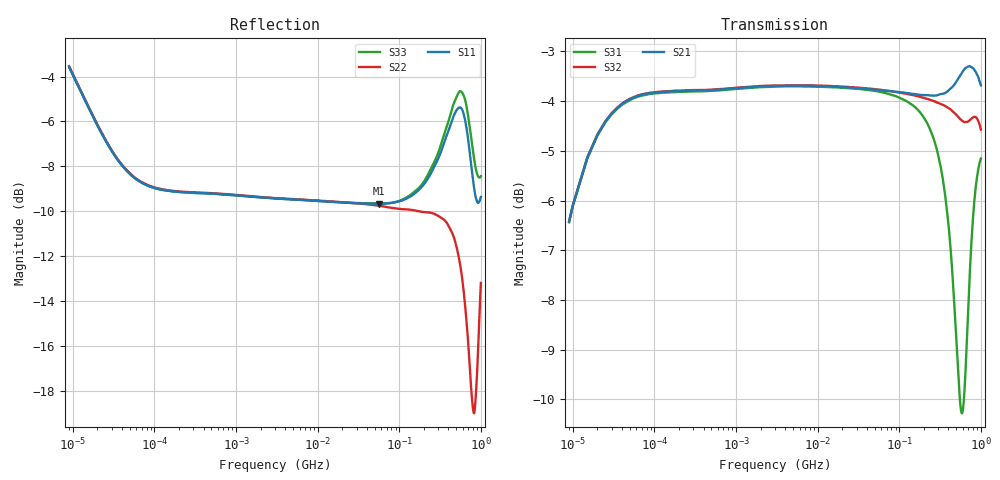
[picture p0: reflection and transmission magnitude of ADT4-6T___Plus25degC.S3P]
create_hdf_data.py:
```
from leda_cal.analog import *
from leda_cal.git import get_repo_fingerprint

def interp_cplx(x_new, x_orig, d_orig):
    re = np.interp(x_new, x_orig, np.real(d_orig))
    im = np.interp(x_new, x_orig, np.imag(d_orig))
    d_new = re + 1j * im
    return d_new

def s2p_interp(f_leda, ant_s11_file, lna_s11_file):
    
    ant = AnalogComponent()
    lna = AnalogComponent()
    ant.read_s2p(ant_s11_file)
    lna.read_s2p(lna_s11_file)

    f  = ant.freq * 1e3
    ra = ant.s11
    rl = lna.s11
    
    ra_ = interp_cplx(f_leda, f, ra)
    rl_ = interp_cplx(f_leda, f, rl)
    
    return ra_, rl_
    

f_leda = np.linspace(0, 98.304, 4096)
i0 = closest(f_leda, 30)
i1 = closest(f_leda, 85)
f_leda = f_leda[i0:i1]


##################
## ANT + LNA
##################
#Just change these paths
#first file is balun file and second file is lna

if False:		# Old cal
  a252x_s11 = s2p_interp(f_leda, 'field-data-2017/field-jan-13/vna-ant252-a2-s11-3.s2p',
           'fee-vna/balun.cal.2016/dcp-a2-s11.s2p')

  a254x_s11 = s2p_interp(f_leda, 'field-data-2017/field-jan-13/vna-ant254-c2-s11.s2p',
           'fee-vna/balun.cal.2016/dcp-c2-s11.s2p')

  a255x_s11 = s2p_interp(f_leda, 'field-data-2017/field-jan-13/vna-ant255-d2-s11.s2p',
           'fee-vna/balun.cal.2016/dcp-d2-s11.s2p')

  a252y_s11 = s2p_interp(f_leda, 'field-data-2017/field-jan-13/vna-ant252-a2-s11-3.s2p',
           'fee-vna/balun.cal.2016/dcp-a2-s11.s2p')

  a254y_s11 = s2p_interp(f_leda, 'field-data-2017/field-jan-13/vna-ant254-c2-s11.s2p',
           'fee-vna/balun.cal.2016/dcp-c2-s11.s2p')

  a255y_s11 = s2p_interp(f_leda, 'field-data-2017/field-jan-13/vna-ant255-d2-s11.s2p',
           'fee-vna/balun.cal.2016/dcp-d2-s11.s2p')
else: 			#	New Cal


  a252x_s11 = s2p_interp(f_leda, 'balun.18may/fialkov.de-embed.baluns.Using.Lab.Measued.Cables.18aug01/Zres_252A.s2p',
           'lna.s11.18may/leda.lna.s11.cable.de-embedded_252A.s2p')

  a254x_s11 = s2p_interp(f_leda, 'balun.18may/fialkov.de-embed.baluns.Using.Lab.Measued.Cables.18aug01/Zres_254A.s2p',
           'lna.s11.18may/leda.lna.s11.cable.de-embedded_252A.s2p')

  a255x_s11 = s2p_interp(f_leda, 'balun.18may/fialkov.de-embed.baluns.Using.Lab.Measued.Cables.18aug01/Zres_255A.s2p',
           'lna.s11.18may/leda.lna.s11.cable.de-embedded_252A.s2p')

  a252y_s11 = s2p_interp(f_leda, 'balun.18may/fialkov.de-embed.baluns.Using.Lab.Measued.Cables.18aug01/Zres_252B.s2p',
           'lna.s11.18may/leda.lna.s11.cable.de-embedded_252A.s2p')

  a254y_s11 = s2p_interp(f_leda, 'balun.18may/fialkov.de-embed.baluns.Using.Lab.Measued.Cables.18aug01/Zres_254B.s2p',
           'lna.s11.18may/leda.lna.s11.cable.de-embedded_252A.s2p')

  a255y_s11 = s2p_interp(f_leda, 'balun.18may/fialkov.de-embed.baluns.Using.Lab.Measued.Cables.18aug01/Zres_255B.s2p',
           'lna.s11.18may/leda.lna.s11.cable.de-embedded_252A.s2p')

  a256y_s11 = s2p_interp(f_leda, 'balun.18may/fialkov.de-embed.baluns.Using.Lab.Measued.Cables.18aug01/Zres_256B.s2p',
           'lna.s11.18may/leda.lna.s11.cable.de-embedded_252A.s2p')


ant_s11_dict = {
    'f'           : f_leda,
    'a252x'       : {'ra': a252x_s11[0], 'rl': a252x_s11[1]},
    'a252y'       : {'ra': a252y_s11[0], 'rl': a252y_s11[1]},
    'a254x'       : {'ra': a254x_s11[0], 'rl': a254x_s11[1]},
    'a254y'       : {'ra': a254y_s11[0], 'rl': a254y_s11[1]},
    'a255x'       : {'ra': a255x_s11[0], 'rl': a255x_s11[1]},
    'a255y'       : {'ra': a255y_s11[0], 'rl': a255y_s11[1]},
    'fingerprint' : get_repo_fingerprint()
    }

hkl.dump(ant_s11_dict, 'cal_data/vna_calibration.hkl')

exit()    # Need scikit-rf module to run the rest
###########
## BALUN
###########
import skrf as rf

balun = rf.Network()
balun.read_touchstone('component-data/ADT4-6T___Plus25degC.S3P')
ff  = balun.frequency.f / 1e6
s12 = balun.s12.s_db[:, 0,0]
s13 = balun.s13.s_db[:, 0,0]

L = 20*np.log10( 10**(s12/20.0) + 10**(s13/20.0) )

plt.plot(ff, L)
plt.xlim(20, 90)
plt.ylim(-1, -0.5)
plt.xlabel("Frequency [MHz]")
plt.ylabel("Balun loss [dB]")
hkl.dump({'f': ff, 'L' : L, 'fingerprint': get_repo_fingerprint()}, 'cal_data/balun_loss_single.hkl')

L_interp = np.interp(f_leda, ff, L)

balun_loss_dict = {
    'f'           : f_leda,
    'a252x'       : L_interp,
    'a252y'       : L_interp,
    'a254x'       : L_interp,
    'a254y'       : L_interp,
    'a255x'       : L_interp,
    'a255y'       : L_interp,
    'fingerprint' : get_repo_fingerprint()
    }

hkl.dump(balun_loss_dict, 'cal_data/balun_loss.hkl')
```
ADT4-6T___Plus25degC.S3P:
!MINI CIRCUITS LABORATORY
!MODEL:ADT4-6T
!RUN/LOT/DATE CODE:MB37660/0721
!FIXTURE USED:90-2-20-204
!CONNECTION:PORT1-PIN1,PORT2-PIN4,PORT3-PIN6, PIN 3&5- GND.
!Date: Fri Dec 14 11:12:22 2007
# Hz S dB R 50
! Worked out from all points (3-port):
!   797 points, 9 kHz to 1 GHz, reference 50 ohm
!   strongest paths, dB at 9 kHz, 101.5 MHz, 201 MHz, 302 MHz, 1 GHz:
!     S21: -6.4, -3.8, -3.9, -3.9, -3.7
!     S32: -6.4, -3.8, -3.9, -4.0, -4.6
!     S31: -6.4, -3.9, -4.3, -5.1, -5.2
!   lowest |S11| = -9.7 dB at 56 MHz (marker M1), VSWR 1.98, Z = 25.8 + j6.07 ohm
!   |S11| at or under -10 dB: nowhere
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9000  -3.57 155.4  -6.46 -144.3  -6.43 35.6
      -6.42 -144.4  -3.53 155.2  -6.42 -144.3
      -6.44 35.7  -6.42 -144.3  -3.56 155.3
5.6e7  -9.67 161.4  -3.77 170.9  -3.81 -9.2
       -3.78 170.9  -9.75 160.6  -3.77 170.2
       -3.81 -9.2  -3.77 170.2  -9.66 160.3
5.55e8  -5.37 6.3  -3.49 96.3  -10.03 -162.5
        -3.49 96.3  -12.35 20.8  -4.35 91.5
        -10.03 -162.5  -4.36 91.6  -4.65 -0.3
7.3e8  -7.39 -70.6  -3.30 67.3  -7.50 84.0
       -3.30 67.2  -16.92 -40.9  -4.39 66.1
       -7.49 84.0  -4.38 66.1  -6.25 -77.7
1e9  -9.36 174.6  -3.68 22.6  -5.16 16.2
     -3.68 22.5  -13.20 166.8  -4.57 22.1
     -5.15 16.3  -4.57 22.2  -8.44 173.5
